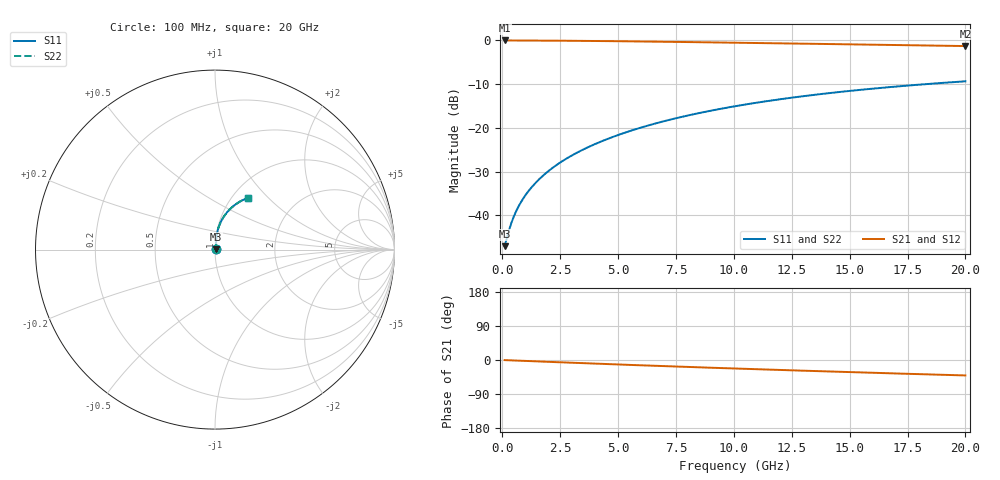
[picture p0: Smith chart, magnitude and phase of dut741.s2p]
! Touchstone file exported from HFSS 2024.1.0
!  File:  C:/UserFiles/LocalFiles/RDL_TSV_Batchsim/temp_RDL_bottom_741_1779859316.aedt
!  Generated:  01:24:27 PM May 27, 2026
!  Design:  RDL_bottom
!  Project:  temp_RDL_bottom_741_1779859316
!  Setup:  Setup1
!  Solution:  Sweep
! Variables:
!  dtsv = 10.80580581um
!  hbump = 3um
!  htsv = 67.72um
!  ldown = 601.29um
!  lrdl = 100um
!  p = 40
!  p1 = 43.83um
!  rhole = 1um
!  t = 450um
!  tdown = 2.48um
!  trdl = 3.915915916um
!  wdown = 22.7um
!  wrdl = 20um
# GHz S MA R 50.000000
! Terminal data exported
! Port[1] = RDL1_T1
! Port[2] = RDL1_T2
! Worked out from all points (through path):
!   200 points, 100 MHz to 20 GHz, reference 50 ohm
!   highest |S21| = -0.04 dB at 100 MHz (marker M1); lowest = -1.3 dB at 20 GHz (marker M2)
!   group delay of S21, straight-line fit = 5.62 ps
!   lowest |S11| = -47.0 dB at 100 MHz (marker M3), VSWR 1.01, Z = 50.4 + j0.184 ohm
!   |S11| at or under -10 dB: start of sweep to 18.32 GHz
!   |S22| runs from -47.0 to -9.4 dB; largest |S21 - S12| = 3.6e-15
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0.1  0.004456 24.2  0.9959 -0.3  0.9959 -0.3  0.004456 24.2
! Gamma 0 0 0 0
! Port Impedance 50 0 50 0
0.3  0.006888 50.5  0.9955 -0.8  0.9955 -0.8  0.006888 50.5
0.4  0.008317 56.6  0.9953 -1.0  0.9953 -1.0  0.008316 56.6
0.6  0.0112 64.1  0.9948 -1.5  0.9948 -1.5  0.0112 64.1
0.7  0.01265 66.6  0.9946 -1.7  0.9946 -1.7  0.01265 66.6
0.9  0.01555 70.4  0.9941 -2.2  0.9941 -2.2  0.01555 70.4
1.2  0.01997 74.3  0.9935 -2.9  0.9935 -2.9  0.01997 74.3
1.4  0.02298 76.2  0.993 -3.4  0.993 -3.4  0.02298 76.2
1.7  0.02756 78.3  0.9922 -4.1  0.9922 -4.1  0.02756 78.3
2.2  0.03538 80.5  0.9906 -5.3  0.9906 -5.3  0.03538 80.5
2.8  0.04504 82.1  0.9882 -6.7  0.9882 -6.7  0.04504 82.1
3.5  0.05668 83.0  0.985 -8.4  0.985 -8.4  0.05668 83.0
4.2  0.06868 83.3  0.9812 -10.0  0.9812 -10.0  0.06868 83.3
5  0.0828 83.2  0.9764 -11.8  0.9764 -11.8  0.0828 83.2
5.9  0.09911 82.5  0.9704 -13.8  0.9704 -13.8  0.09911 82.5
6.8  0.1157 81.6  0.964 -15.8  0.964 -15.8  0.1158 81.6
8.4  0.1457 79.2  0.952 -19.1  0.952 -19.1  0.1457 79.2
10.1  0.1775 76.3  0.9386 -22.6  0.9386 -22.6  0.1776 76.3
11.7  0.2069 73.3  0.9258 -25.7  0.9258 -25.7  0.2069 73.3
13.4  0.237 70.0  0.9121 -29.0  0.9121 -29.0  0.2371 70.1
16.7  0.2916 63.7  0.8856 -35.0  0.8856 -35.0  0.2917 63.8
20  0.3402 57.7  0.8595 -40.8  0.8595 -40.8  0.3403 57.7
